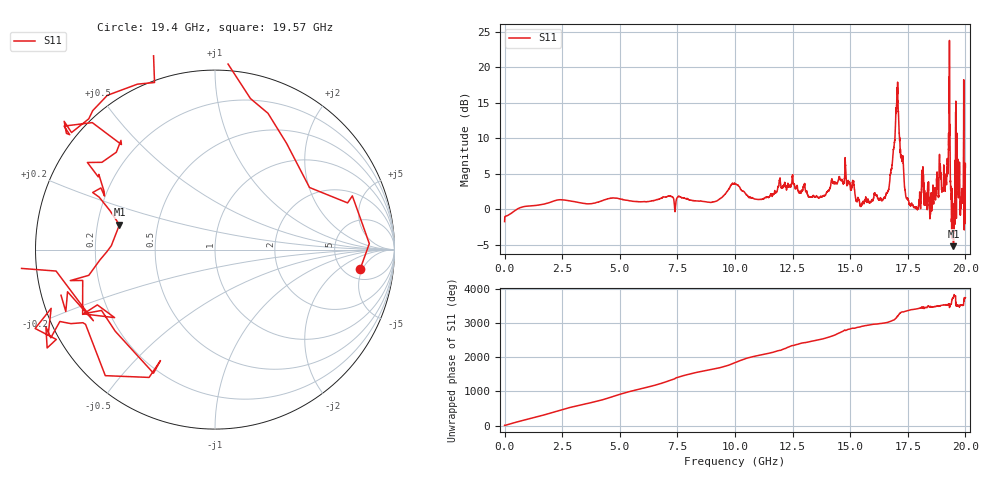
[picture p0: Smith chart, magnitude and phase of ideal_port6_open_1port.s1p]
! Created with skrf 1.8.0 (http://scikit-rf.org).
# GHz S RI R 50.0
!freq ReS11 ImS11
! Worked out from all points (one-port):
!   10001 points, 1 MHz to 20 GHz, reference 50 ohm
!   lowest |S11| = -5.2 dB at 19.48 GHz (marker M1), VSWR 3.45, Z = 14.7 + j5.84 ohm
!   |S11| at or under -10 dB: nowhere
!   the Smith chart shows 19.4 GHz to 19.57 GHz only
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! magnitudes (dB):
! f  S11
! 1 MHz  -1.7
! 2.501 GHz  1.3
! 5.001 GHz  1.5
! 7.501 GHz  1.7
! 9.135 GHz  1.1
! 10 GHz  3.6
! 11.05 GHz  1.4
! 12.5 GHz  4.9
! 13.28 GHz  1.7
! 14.73 GHz  3.7
! 15 GHz  3.3
! 15.5 GHz  0.6
! 16.49 GHz  1.7
! 16.74 GHz  4.9
! 17.04 GHz  16.7
! 17.5 GHz  1.5
! 17.88 GHz  0.1
! 18.18 GHz  4.9
! 18.53 GHz  1.5
! 18.85 GHz  2.8
! 19.09 GHz  4.6
! 19.24 GHz  5.3
! 19.35 GHz  4.0
! 19.43 GHz  1.1
! 19.48 GHz  -5.2
! 19.65 GHz  5.9
! 19.86 GHz  2.2
! 20 GHz  6.0
